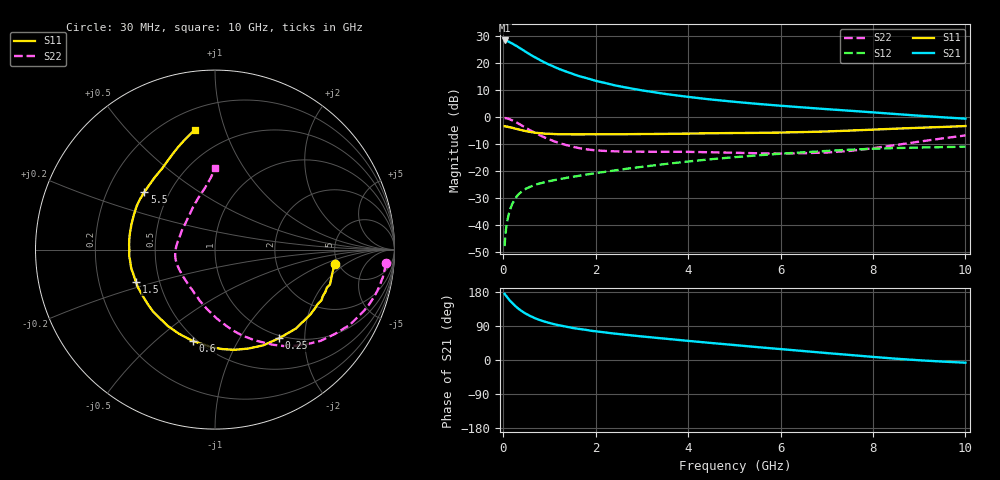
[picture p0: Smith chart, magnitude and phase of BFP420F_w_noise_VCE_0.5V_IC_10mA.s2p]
! (c) 2011  Infineon Technologies AG, Munich
! Infineon Technologies  Discrete & RF Semiconductors
! BFP420F
! VCE =  0.5 V,  IC =  10 mA
! Common Emitter S-Parameters:  Sep 2011
# GHz  S  MA  R  50
!  f  S11  S21  S12  S22
! GHz  MAG  ANG  MAG  ANG  MAG  ANG  MAG  ANG
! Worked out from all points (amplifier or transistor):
!   54 points, 30 MHz to 10 GHz, reference 50 ohm
!   highest |S21| = 28.2 dB at 30 MHz (marker M1)
!   |S21| within 3 dB of that: start of sweep to 376.5 MHz
!   unconditionally stable (mu >= 1): 1.948 GHz to end of sweep
!   at 120 MHz: K = 0.17, MSG = 31.9 dB, |S12| = -36.0 dB
!   at 1.3 GHz: K = 0.79, MSG = 19.9 dB, |S12| = -22.7 dB
!   at 10 GHz: K = 1.25, MAG = 2.2 dB, |S12| = -11.0 dB
!   lowest NFmin = 1.18 dB at 450 MHz
!   S11 on the Smith chart (normalised r, x): 30 MHz: 4.64, -1.40; 250 MHz: 0.96, -1.51; 600 MHz: 0.48, -0.67; 1.5 GHz: 0.37, -0.17; 5.5 GHz: 0.36, +0.31; 10 GHz: 0.32, +0.80
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0.03  0.6713 -7.1  25.82 174.6  0.0041 87.3  0.9542 -4.6
0.05  0.6667 -11.7  25.51 171.0  0.0067 84.1  0.9503 -7.7
0.07  0.6697 -16.8  25.48 168.3  0.0097 84.3  0.943 -10.9
0.12  0.6472 -28.1  24.52 160.2  0.0159 77.8  0.9173 -18.2
0.2  0.6296 -44.4  22.55 149.8  0.0252 70.9  0.8606 -29.1
0.25  0.6094 -54.0  21.27 143.7  0.0299 67.3  0.8179 -35.0
0.3  0.5972 -63.3  20.14 138.3  0.0347 63.9  0.7776 -40.8
0.4  0.569 -78.9  17.74 129.1  0.0418 58.6  0.6958 -50.4
0.5  0.544 -92.1  15.68 121.5  0.0476 54.6  0.6212 -58.6
0.6  0.524 -103.6  13.88 115.1  0.052 51.7  0.5555 -65.9
0.7  0.5099 -113.3  12.45 109.7  0.0561 49.6  0.5028 -72.4
0.8  0.5003 -121.7  11.17 105.0  0.0593 48.2  0.4559 -78.2
0.9  0.4906 -128.8  10.08 101.2  0.0623 47.3  0.4161 -83.4
1.2  0.4788 -145.7  7.735 91.7  0.0705 45.9  0.3327 -98.0
1.5  0.4756 -157.9  6.249 84.5  0.0783 45.8  0.2813 -110.6
1.7  0.475 -163.8  5.493 81.0  0.0834 45.8  0.2593 -118.8
2.4  0.4767 -179.6  3.854 69.8  0.1025 45.8  0.2317 -140.9
3.5  0.4862 163.3  2.662 56.3  0.1347 43.9  0.2271 -160.8
5.5  0.5078 140.7  1.741 34.0  0.1949 34.2  0.2132 168.9
7  0.5386 123.3  1.391 18.3  0.2352 24.8  0.2203 138.6
8.5  0.607 109.8  1.129 3.4  0.2661 13.9  0.3033 107.8
10  0.6776 99.3  0.929 -7.1  0.2823 5.6  0.4546 89.9
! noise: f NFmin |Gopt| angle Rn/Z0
0.45  1.18  0.02  48  0.13
0.9  1.19  0.06  87  0.14
1.9  1.33  0.14  155  0.27
2.4  1.39  0.15  158  0.17
3.5  1.66  0.2  179  0.18
